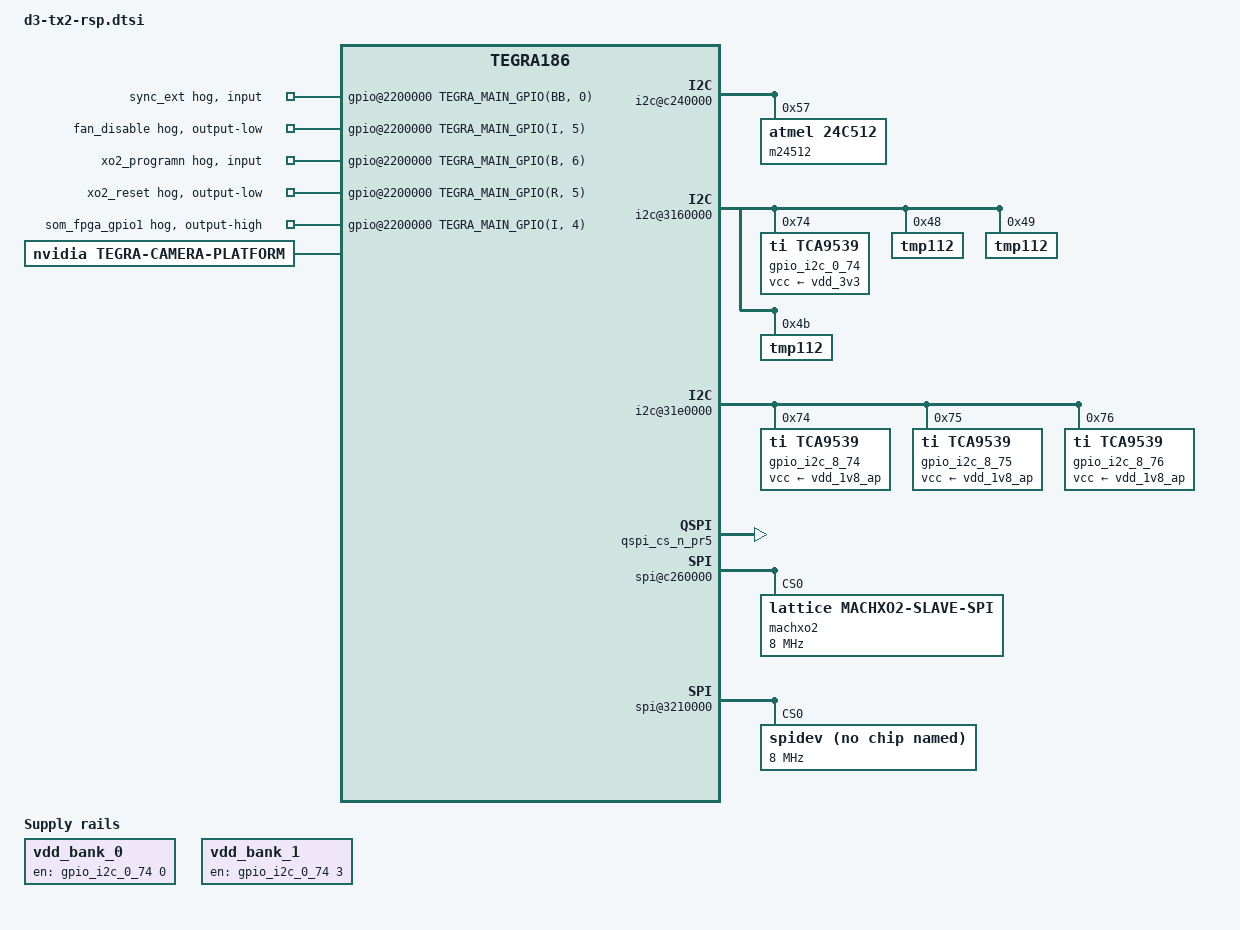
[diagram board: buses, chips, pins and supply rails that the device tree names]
/*
 * D3 Engineering NVIDIA RSP
 *
 * Copyright (c) 2018-2019, D3 Engineering. All rights reserved.
 *
 * This program is free software; you can redistribute it and/or modify
 * it under the terms of the GNU General Public License as published by
 * the Free Software Foundation; version 2 of the License.
 *
 * This program is distributed in the hope that it will be useful, but WITHOUT
 * ANY WARRANTY; without even the implied warranty of MERCHANTABILITY or
 * FITNESS FOR A PARTICULAR PURPOSE.  See the GNU General Public License for
 * more details.
 */

#include "tegra186-quill-p3310-1000-c03-00-base.dts"
#include <dt-bindings/media/camera.h>
#include "dt-bindings/clock/tegra186-clock.h"
#include "t18x-common-platforms/tegra186-hdmi.dtsi"
#include "tegra186-soc/tegra186-camera.dtsi"

/ {
	rtcpu@b000000 {
		status = "okay";
	};

	/* Add fan tach_gpio to pwm_fan_shared_data */
	pfsd {
		tach_gpio = <&tegra_main_gpio TEGRA_MAIN_GPIO(X, 4) IRQ_TYPE_EDGE_BOTH>;
	};

	/* Give pwm_fan.c a regulator to look at in leiu of vdd_fan */
	pwm-fan {
		vdd-fan-supply = <&battery_reg>;
	};

	/* Pin A9 (GPIO3_PBB.00) is connected to the SYNC_EXT signal, which is
	 * an optional input to the TX2. By default, this pin is an output and
	 * was pulling this signal low. Setting it to an input so that it can
	 * be driven properly
	 *
	 * Pin B19 (GPIO3_PI.05) is connected to FAN_DISABLE. This pin is set
	 * HIGH by default, thus preventing us from controlling the fan. This
	 * pin is not used by the pwm_fan.c driver so we take over and set it
	 * as a low output.
	 */
	gpio@2200000 {
		sync_ext {
			gpio-hog; //Take over a pin
			status = "okay";
			input; //This can be 'input', 'output-low' or 'output-high'
			gpios = <TEGRA_MAIN_GPIO(BB, 0) 0>;
			label = "sync_ext";
		};
		gpio11_ap_wake_bt {
			gpio-hog;
			status = "okay";
			output-low;
			gpios = <TEGRA_MAIN_GPIO(I, 5) 0>;
			label = "fan_disable";
		};
	};

	/* I2C_GP0, DT alias: i2c1 (clock: E15, data: D15) */
	i2c@c240000 {
		/* EEPROM */
		m24512@57 {
			status = "okay";
			compatible = "atmel,24c512"; /* TODO: verify compatibility */
			reg = <0x57>;
			pagesize = <128>;
		};

		/* clock */
		cdcel937@6d {
			status = "disabled";
			compatible = "d3,?";
			reg = <0x6d>;
		};
	};

	/* I2C_GP1, DT alias: i2c0 (clock: A21, data: A20) */
	i2c@3160000 {
		/* U71, (pg. 35) */
		/* there's a 9539 on the 2597 board at the same address. delete it */
		/delete-node/ ina3221x@42;
		/delete-node/ ina3221x@43;
		/delete-node/ gpio@74;
		/* /delete-node/ gpio@77; */
		gpio_i2c_0_74: gpio@74 {
			status = "okay";
			compatible = "ti,tca9539";
			reg = <0x74>;
			#gpio-cells = <2>;
			gpio-controller;
			vcc-supply = <&vdd_3v3>;
			interrupts = <TEGRA_MAIN_GPIO(N, 2) GPIO_ACTIVE_LOW>;
		};

		tmp112@48 {
			status = "okay";
			compatible = "tmp112";
			reg = <0x48>;
		};

		tmp112@49 {
			status = "okay";
			compatible = "tmp112";
			reg = <0x49>;
		};

		tmp112@4b {
			status = "okay";
			compatible = "tmp112";
			reg = <0x4b>;
		};

		ads1115@4a {
			status = "disabled";
			compatible = "d3,?";
			reg = <0x4a>;
		};
	};

	/* I2C_GP2, alias i2c7 (clock: C11, data: C10) */
	/* Display/Expansion connector */
	/* The base address was verified on another project */
	i2c@31c0000 {
	};

	/* I2C_GP3, DT alias: i2c8 (clock: C12, data: C13) */
	i2c@31e0000 {
		gpio_i2c_8_74: tca9539@74 {
			status = "okay";
			compatible = "ti,tca9539";
			reg = <0x74>;
			#gpio-cells = <2>;
			gpio-controller;
			vcc-supply = <&vdd_1v8_ap>;
			/* #interrupt-cells = <2>; */
			/* interrupt-controller; */
			/* interrupt-parent = <&tegra_main_gpio>; */
			/* interrupts = <TEGRA_MAIN_GPIO(B, 4) IRQ_TYPE_EDGE_BOTH>; */
		};

		gpio_i2c_8_75: tca9539@75 {
			status = "okay";
			compatible = "ti,tca9539";
			reg = <0x75>;
			#gpio-cells = <2>;
			gpio-controller;
			vcc-supply = <&vdd_1v8_ap>;
			/* #interrupt-cells = <2>; */
			/* interrupt-controller; */
			/* interrupt-parent = <&tegra_main_gpio>; */
			/* interrupts = <TEGRA_MAIN_GPIO(B, 4) IRQ_TYPE_EDGE_BOTH>; */
		};

		gpio_i2c_8_76: tca9539@76 {
			status = "okay";
			compatible = "ti,tca9539";
			reg = <0x76>;
			#gpio-cells = <2>;
			gpio-controller;
			vcc-supply = <&vdd_1v8_ap>;
			/* #interrupt-cells = <2>; */
			/* interrupt-controller; */
			/* interrupt-parent = <&tegra_main_gpio>; */
			/* interrupts = <TEGRA_MAIN_GPIO(B, 4) IRQ_TYPE_EDGE_BOTH>; */
		};

	};

	pinmux@2430000 {
		common {
			/* XO2_PROGRAMN - A29 - SDIO_RST# - GPIO_WAN3 */
			gpio_wan3_pb6 {
				status = "okay";
				nvidia,pins = "gpio_wan3_pb6";
				nvidia,function = "rsvd0";
				nvidia,pull = <TEGRA_PIN_PULL_UP>;
				nvidia,tristate = <TEGRA_PIN_DISABLE>;
				nvidia,enable-input = <TEGRA_PIN_DISABLE>;
				nvidia,lpdr = <TEGRA_PIN_DISABLE>;
			};

			/* XO2_INITN - A23 - GPIO_EXP0_INT - GPIO_MDM1 */
			gpio_mdm1_py0 {
				status = "okay";
				nvidia,pins = "gpio_mdm1_py0";
				nvidia,function = "rsvd0";
				nvidia,pull = <TEGRA_PIN_PULL_UP>;
				nvidia,tristate = <TEGRA_PIN_DISABLE>;
				nvidia,enable-input = <TEGRA_PIN_ENABLE>;
				nvidia,lpdr = <TEGRA_PIN_DISABLE>;
			};

			/* XO2_DONE - A22 - GPIO_EXP1_INT - GPIO_MDM7 */
			gpio_mdm7_py6 {
				status = "okay";
				nvidia,pins = "gpio_mdm7_py6";
				nvidia,function = "rsvd0";
				nvidia,pull = <TEGRA_PIN_PULL_UP>;
				nvidia,tristate = <TEGRA_PIN_DISABLE>;
				nvidia,enable-input = <TEGRA_PIN_ENABLE>;
				nvidia,lpdr = <TEGRA_PIN_DISABLE>;
			};

			/* SOM_FPGA_GPIO0 - H8 - GPIO2_CAM0_RST# - QSPI_CS_N */
			/* Used for FPGA reset. */
			qspi_cs_n_pr5 {
				status = "okay";
				nvidia,pins = "qspi_cs_n_pr5";
				nvidia,function = "rsvd1";
				nvidia,pull = <TEGRA_PIN_PULL_NONE>;
				nvidia,tristate = <TEGRA_PIN_DISABLE>;
				nvidia,enable-input = <TEGRA_PIN_ENABLE>;
			};
		};
	};

	gpio@2200000 {
		machxo2-programn {
			status = "okay";
			gpio-hog;
			input;
			gpios = <TEGRA_MAIN_GPIO(B, 6) 0>; /* linux gpio334 */
			label = "xo2_programn";
		};

		machxo2-reset {
			status = "okay";
			gpio-hog;
			output-low;
			gpios = <TEGRA_MAIN_GPIO(R, 5) 0>; /* linux gpio461 */
			label = "xo2_reset";
		};
	};

	/* Pinmux for SPI0 */
	pinmux@2430000 {
		common {
			gpio_sen1_pv1 {
				nvidia,pins = "gpio_sen1_pv1";
				nvidia,function = "spi2";
				nvidia,pull = <TEGRA_PIN_PULL_NONE>;
				nvidia,tristate = <TEGRA_PIN_DISABLE>;
				nvidia,enable-input = <TEGRA_PIN_DISABLE>;
				nvidia,lpdr = <TEGRA_PIN_DISABLE>;
			};

			gpio_sen2_pv2 {
				nvidia,pins = "gpio_sen2_pv2";
				nvidia,function = "spi2";
				nvidia,pull = <TEGRA_PIN_PULL_DOWN>;
				nvidia,tristate = <TEGRA_PIN_ENABLE>;
				nvidia,enable-input = <TEGRA_PIN_ENABLE>;
				nvidia,lpdr = <TEGRA_PIN_DISABLE>;
			};

			gpio_sen3_pv3 {
				nvidia,pins = "gpio_sen3_pv3";
				nvidia,function = "spi2";
				nvidia,pull = <TEGRA_PIN_PULL_NONE>;
				nvidia,tristate = <TEGRA_PIN_DISABLE>;
				nvidia,enable-input = <TEGRA_PIN_DISABLE>;
				nvidia,lpdr = <TEGRA_PIN_DISABLE>;
			};

			gpio_sen4_pv4 {
				nvidia,pins = "gpio_sen4_pv4";
				nvidia,function = "spi2";
				nvidia,pull = <TEGRA_PIN_PULL_UP>;
				nvidia,tristate = <TEGRA_PIN_DISABLE>;
				nvidia,enable-input = <TEGRA_PIN_DISABLE>;
				nvidia,lpdr = <TEGRA_PIN_DISABLE>;
			};
		};
	};

	/* SPI0, alias spi1 (E3, E4, F3, F4) Lattice X02. */
	spi@c260000 {
		status = "okay";
		/delete-node/ spi-touch-sharp19x12@0;

		machxo2: machxo2_mgr@0 {
			status = "okay";
			compatible = "lattice,machxo2-slave-spi";
			reg = <0>;
			spi-max-frequency = <8000000>;
		};
	};

	machxo2_region {
		status = "okay";
		compatible = "fpga-region";
		fpga-mgr = <&machxo2>;
		#address-cells = <0x1>;
		#size-cells = <0x1>;

		firmware-name = "machxo2.bin";
	};

	pinmux@2430000 {
		common {
			/* SOM_FPGA_GPIO1 - H13 - GPIO8_ALS_PROX_INT - GPIO_PQ4 */
			gpio_pq4_pi4 {
				status = "okay";
				nvidia,pins = "gpio_pq4_pi4";
				nvidia,function = "rsvd0";
				nvidia,pull = <TEGRA_PIN_PULL_UP>;
				nvidia,tristate = <TEGRA_PIN_DISABLE>;
				nvidia,enable-input = <TEGRA_PIN_DISABLE>;
			};
		};
	};

	gpio@2200000 {
		machxo2-gpios {
			status = "okay";
			gpio-hog;
			output-high;
			gpios = <TEGRA_MAIN_GPIO(I, 4) 0>; /* linux gpio388 */
			label = "som_fpga_gpio1";
		};
	};

	pinmux@2430000 {
		common {
			/* SOM_FPGA_GPIO2 - H14 - SPI2_CLK - GPIO_WAN5 */
			gpio_wan5_ph0 {
				status = "okay";
				nvidia,pins = "gpio_wan5_ph0";
				nvidia,function = "spi1";
				nvidia,pull = <TEGRA_PIN_PULL_NONE>;
				nvidia,tristate = <TEGRA_PIN_DISABLE>;
				nvidia,enable-input = <TEGRA_PIN_DISABLE>;
				nvidia,lpdr = <TEGRA_PIN_DISABLE>;
			};

			/* SOM_FPGA_GPIO3 - H15 - SPI2_MISO - GPIO_WAN6 */
			gpio_wan6_ph1 {
				status = "okay";
				nvidia,pins = "gpio_wan6_ph1";
				nvidia,function = "spi1";
				nvidia,pull = <TEGRA_PIN_PULL_DOWN>;
				nvidia,tristate = <TEGRA_PIN_ENABLE>;
				nvidia,enable-input = <TEGRA_PIN_ENABLE>;
				nvidia,lpdr = <TEGRA_PIN_DISABLE>;
			};

			/* SOM_FPGA_GPIO4 - G15 - SPI2_MOSI - GPIO_WAN7 */
			gpio_wan7_ph2 {
				status = "okay";
				nvidia,pins = "gpio_wan7_ph2";
				nvidia,function = "spi1";
				nvidia,pull = <TEGRA_PIN_PULL_NONE>;
				nvidia,tristate = <TEGRA_PIN_DISABLE>;
				nvidia,enable-input = <TEGRA_PIN_DISABLE>;
				nvidia,lpdr = <TEGRA_PIN_DISABLE>;
			};

			/* SOM_FPGA_GPIO5 - G16 - SPI2_CS0# - GPIO_WAN8 */
			gpio_wan8_ph3 {
				status = "okay";
				nvidia,pins = "gpio_wan8_ph3";
				nvidia,function = "spi1";
				nvidia,pull = <TEGRA_PIN_PULL_UP>;
				nvidia,tristate = <TEGRA_PIN_DISABLE>;
				nvidia,enable-input = <TEGRA_PIN_DISABLE>;
				nvidia,lpdr = <TEGRA_PIN_DISABLE>;
			};
		};
	};

	/* SPI2, alias spi0 (G15, G16, H14, H15) */
	spi@3210000 {
		status = "okay";

		spidev@0 {
			status = "okay";
			compatible = "spidev";
			reg = <0>;
			spi-max-frequency = <8000000>;
		};
	};

	/* SPI1, alias spi3 (E14, F13, F14, G13) */
	spi@3240000 { /* TODO: verify the base address */

	};

	host1x {
		nvcsi@150c0000 {
			num-channels = <6>;
			num-ports = <12>;
		};
		vi@15700000 {
			num-channels = <6>;
		};
		nvdisplay@15200000 {
			status = "disabled";
			/delete-property/ avdd_lcd-supply;
		};
		/* HDMI0 */
		nvdisplay@15220000 {
			status = "okay";
			/delete-property/ vdd_hdmi_5v0-supply;
			vdd_hdmi_5v0-supply = <&battery_reg>;
			avdd_hdmi-supply = <&spmic_ldo7>;
			avdd_hdmi_pll-supply = <&spmic_sd2>;
			win-mask = <0x7>;
		};
		sor {
			status = "okay";
			/delete-property/ nvidia,hpd-gpio;
			nvidia,hpd-gpio = <&tegra_main_gpio TEGRA_MAIN_GPIO(P, 0) GPIO_ACTIVE_HIGH>;
			hdmi-display {
				disp-default-out {
					nvidia,out-flags = <TEGRA_DC_OUT_HOTPLUG_HIGH>;
				};
			};
		};
		dpaux@155c0000 {
			status = "okay";
		};
		/* HDMI1 */
		nvdisplay@15210000 {
			status = "okay";
			/delete-property/ vdd_hdmi_5v0-supply;
			vdd_hdmi_5v0-supply = <&battery_reg>;
		};
		sor1 {
			status = "okay";
			/delete-property/ nvidia,hpd-gpio;
			nvidia,hpd-gpio = <&tegra_main_gpio TEGRA_MAIN_GPIO(P, 1) GPIO_ACTIVE_HIGH>;
			hdmi-display {
				disp-default-out {
					nvidia,out-flags = <TEGRA_DC_OUT_HOTPLUG_HIGH>;
				};
			};
		};
		dpaux@15040000 {
			status = "okay";
		};
	};

	fixed-regulators {
		/* regulator@17 was controlled by the same gpio pin */
		/delete-node/ regulator@17;
		/* FPD/GMSL power bank 0 */
		vdd_bank_0: regulator@300 {
			status = "okay";
			reg = <0x12c>;
			regulator-name = "vdd_bank_0";
			compatible = "regulator-fixed";
			regulator-always-on;
			enable-active-high;
			gpio = <&gpio_i2c_0_74 0 GPIO_ACTIVE_HIGH>;
		};

		/* regulator@8 was controlled by the same pin */
		/delete-node/ regulator@8;
		/* FPD/GMSL power bank 1 */
		vdd_bank_1: regulator@301 {
			status = "okay";
			reg = <0x12d>;
			regulator-name = "vdd_bank_1";
			compatible = "regulator-fixed";
			regulator-always-on;
			enable-active-high;
			gpio = <&gpio_i2c_0_74 3 GPIO_ACTIVE_HIGH>;
		};
		vdd_bank_io: regulator@302 {
			status = "disabled";
			reg = <302>;
			regulator-name = "vdd_bank_io";
			compatible = "regulator-fixed";
			enable-active-high;
			gpio = <&gpio_i2c_0_74 6 GPIO_ACTIVE_HIGH>;
		};
	};

	pinctrl@3520000 {
		/delete-property/ vbus-2-supply;
		vbus-2-supply = <&battery_reg>;
	};

	mttcan@c310000 {
		/delete-property/ gpio_can_stb;
		/delete-property/ gpio_can_en;
		/* Nvidia suggests that we don't use the pin D16 as GPIO
		 * https://devtalk.nvidia.com/default/topic/1022844/d16-ao_dmic_in_dat-pin-in-tx2-as-gpio/?offset=3
		 */
		gpio_can_stb = <&tegra_aon_gpio TEGRA_AON_GPIO(AA, 4) GPIO_ACTIVE_LOW>;
	};

	mttcan@c320000 {
		/delete-property/ gpio_can_stb;
		/delete-property/ gpio_can_en;
		gpio_can_stb = <&tegra_aon_gpio TEGRA_AON_GPIO(AA, 6) GPIO_ACTIVE_LOW>;
	};

	sdhci@3400000 {
		/delete-property/ wp-gpios;
		/delete-property/ wp-inverted;
	};

	/* This is used by nvcamera-daemon (and probably the argus
	 * daemon). This is not needed if you only need v4l2. */
	tegra-camera-platform {
		compatible = "nvidia, tegra-camera-platform";

		/**
		 * Physical settings to calculate max ISO BW
		 *
		 * num_csi_lanes = <>;
		 * Total number of CSI lanes when all cameras are active
		 *
		 * max_lane_speed = <>;
		 * Max lane speed in Kbit/s
		 *
		 * min_bits_per_pixel = <>;
		 * Min bits per pixel
		 *
		 * vi_peak_byte_per_pixel = <>;
		 * Max byte per pixel for the VI ISO case
		 *
		 * vi_bw_margin_pct = <>;
		 * Vi bandwidth margin in percentage
		 *
		 * max_pixel_rate = <>;
		 * Max pixel rate in Kpixel/s for the ISP ISO case
		 *
		 * isp_peak_byte_per_pixel = <>;
		 * Max byte per pixel for the ISP ISO case
		 *
		 * isp_bw_margin_pct = <>;
		 * Isp bandwidth margin in percentage
		 */
		num_csi_lanes = <12>;
		min_bits_per_pixel = <12>;
		max_pixel_rate = <222750>;
		vi_peak_byte_per_pixel = <2>;
		vi_bw_margin_pct = <25>;
		isp_peak_byte_per_pixel = <5>;
		isp_bw_margin_pct = <25>;
		max_lane_speed = <1500000>;
	};
};
